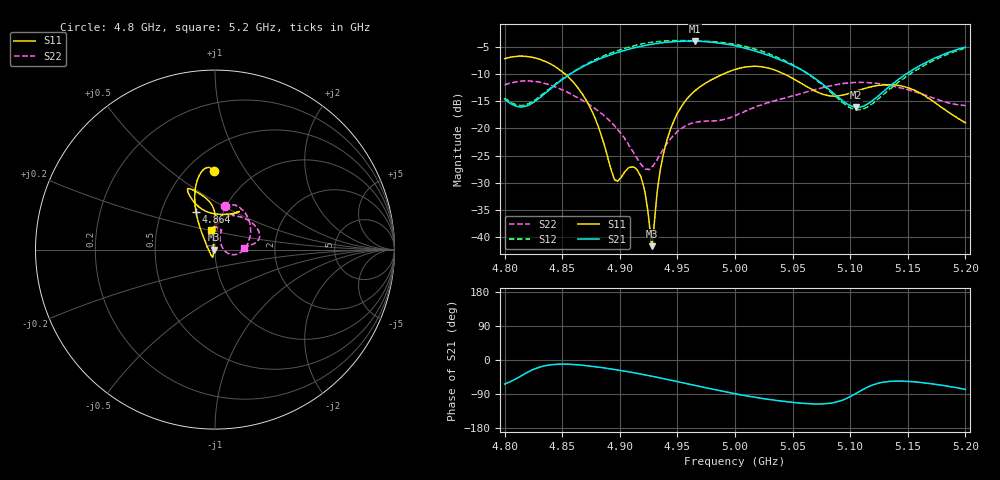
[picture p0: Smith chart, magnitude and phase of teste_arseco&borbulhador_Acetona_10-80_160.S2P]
! Network Analyzer HP8722D
! Hewlett-Packard
! Data name: Linha & Wilkinson
! Saver's name: Rodrigo Anjos
! Comments: Teste da utilização de aquisição
! continua pelo VNA HP8722D
! Time and date: 25/4/2025 16:36
!  Frequency  S11  S21  S12  S22
# HZ  S  MA R 50
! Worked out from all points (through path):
!   401 points, 4.8 GHz to 5.2 GHz, reference 50 ohm
!   highest |S21| = -3.99 dB at 4.965 GHz (marker M1); lowest = -16.1 dB at 5.105 GHz (marker M2)
!   lowest |S11| = -41.6 dB at 4.928 GHz (marker M3), VSWR 1.02, Z = 49.2 + j0.0497 ohm
!   |S11| at or under -10 dB: 4.852 GHz to 4.99 GHz (137.9 MHz wide, 2.8 % of centre); 5.042 GHz to end of sweep
!   |S22| runs from -27.6 to -11.2 dB; largest |S21 - S12| = 1.2
!   S11 on the Smith chart (normalised r, x): 4.8 GHz: 0.67, +0.72; 4.864 GHz: 0.75, +0.33; 5.2 GHz: 0.94, +0.21
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4.8e9  0.4352 90.8  0.1848 -63.5  0.19 69.9  0.2495 77.1
4.82e9  0.4539 97.1  0.1617 -32.1  0.1672 98.7  0.274 61.5
4.843e9  0.3734 106.5  0.2458 -11.8  0.2496 118.9  0.2436 36.7
4.864e9  0.2326 116.9  0.3502 -12.8  0.353 121.1  0.1898 12.0
4.867e9  0.2099 118.6  0.3639 -13.9  0.367 120.6  0.1822 8.6
4.88e9  0.1127 129.0  0.4231 -18.4  0.4328 118.2  0.1481 -5.2
4.896e9  0.03323 -167.8  0.4887 -25.3  0.5063 113.1  0.1039 -15.7
4.909e9  0.04418 -110.3  0.5368 -32.0  0.5602 107.6  0.06741 -13.8
4.917e9  0.03807 -106.2  0.5617 -36.4  0.5886 103.5  0.04874 -0.4
4.921e9  0.02843 -110.2  0.5731 -38.8  0.6006 101.3  0.04308 13.2
4.928e9  0.008307 176.5  0.5908 -42.8  0.6174 97.1  0.04454 41.2
4.934e9  0.0345 100.6  0.6022 -46.7  0.6275 93.2  0.0555 58.1
4.939e9  0.06528 93.8  0.6144 -49.7  0.6332 89.9  0.06723 65.3
4.946e9  0.1111 90.3  0.623 -54.4  0.6375 85.6  0.08467 70.0
4.965e9  0.2198 91.2  0.6318 -66.9  0.6357 73.4  0.1139 71.4
5e9  0.3469 109.1  0.5722 -89.1  0.5903 50.8  0.1311 88.2
5.03e9  0.3547 115.2  0.4642 -104.3  0.4798 33.9  0.1729 85.4
5.067e9  0.2271 105.3  0.2993 -115.8  0.297 23.6  0.2222 57.0
5.105e9  0.2193 65.6  0.156 -88.4  0.1485 54.6  0.263 25.5
5.134e9  0.2513 57.5  0.2419 -56.5  0.2271 88.8  0.2477 12.4
5.169e9  0.1859 70.4  0.418 -62.0  0.4019 84.8  0.1948 6.9
5.2e9  0.1124 100.7  0.5552 -77.6  0.5446 70.1  0.1618 3.7
